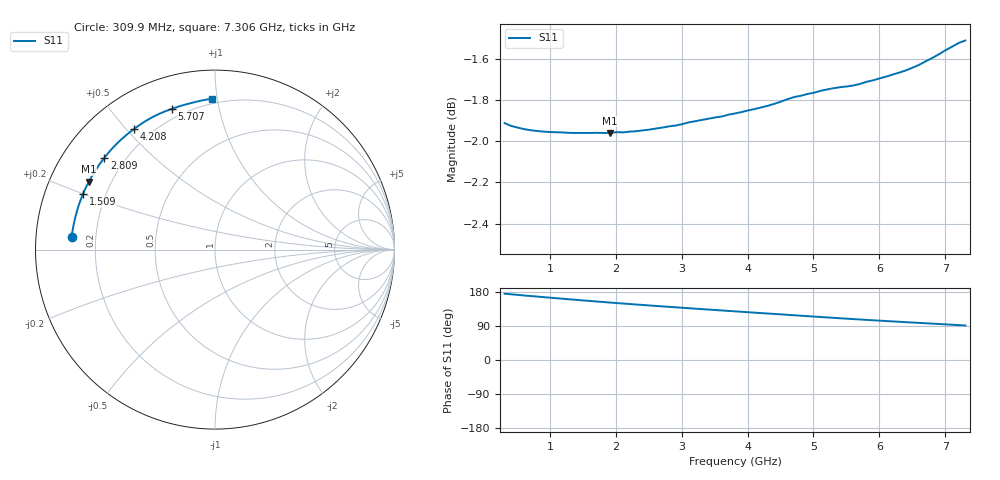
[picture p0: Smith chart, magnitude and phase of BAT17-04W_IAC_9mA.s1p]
! Infineon Technologies  Discrete & RF Semiconductors
! BAT17-04W
! IAC = 9 mA
! One-Port S-Parameters
# Hz  S  MA  R  50
!f  S11
!Hz  Mag  Ang
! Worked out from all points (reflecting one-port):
!   71 points, 309.9 MHz to 7.306 GHz, reference 50 ohm
!   lowest |S11| = -2.0 dB at 1.909 GHz (marker M1), VSWR 8.90, Z = 5.97 + j12.5 ohm
!   phase of S11 starts at 175 deg and turns -84 deg over the sweep
!   S11 on the Smith chart (normalised r, x): 309.9 MHz: 0.11, +0.04; 1.509 GHz: 0.12, +0.20; 2.809 GHz: 0.12, +0.36; 4.208 GHz: 0.13, +0.53; 5.707 GHz: 0.15, +0.73; 7.306 GHz: 0.17, +0.97
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3.0985e8  0.8025 174.8
5.0975e8  0.8004 171.8
8.096e8  0.7989 167.3
1.0095e9  0.7985 164.3
1.2094e9  0.7983 161.4
1.50925e9  0.7981 157.1
1.70915e9  0.7981 154.3
1.90905e9  0.7981 151.6
2.10895e9  0.7983 149.0
2.4088e9  0.7992 145.2
2.70865e9  0.8005 141.4
2.8086e9  0.801 140.2
3.0085e9  0.802 137.9
3.10845e9  0.8028 136.6
3.4083e9  0.8045 133.1
3.8081e9  0.8068 128.4
4.2079e9  0.8096 123.8
4.50775e9  0.8122 120.4
4.70765e9  0.8143 118.0
4.90755e9  0.8156 115.8
5.2074e9  0.8177 112.3
5.4073e9  0.8188 110.1
5.6072e9  0.8195 107.9
5.70715e9  0.8203 106.9
6.007e9  0.8228 103.8
6.50675e9  0.8278 98.9
7.0065e9  0.8359 94.0
7.30635e9  0.8405 91.0
